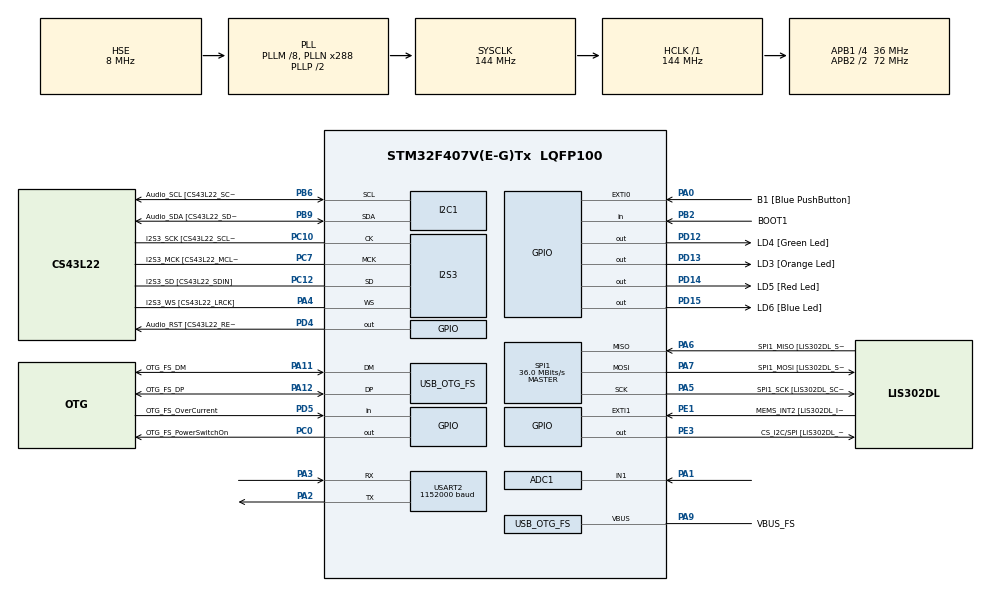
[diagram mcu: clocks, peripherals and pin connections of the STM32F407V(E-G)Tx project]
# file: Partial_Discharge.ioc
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ADC1.Channel-1\#ChannelRegularConversion=ADC_CHANNEL_1
ADC1.ContinuousConvMode=ENABLE
ADC1.DMAContinuousRequests=ENABLE
ADC1.ExternalTrigConv=ADC_SOFTWARE_START
ADC1.NbrOfConversionFlag=1
ADC1.Rank-1\#ChannelRegularConversion=1
ADC1.SamplingTime-1\#ChannelRegularConversion=ADC_SAMPLETIME_3CYCLES
ADC1.master=1
Dma.ADC1.0.Direction=DMA_PERIPH_TO_MEMORY
Dma.ADC1.0.FIFOMode=DMA_FIFOMODE_DISABLE
Dma.ADC1.0.Instance=DMA2_Stream0
Dma.ADC1.0.MemDataAlignment=DMA_MDATAALIGN_HALFWORD
Dma.ADC1.0.MemInc=DMA_MINC_ENABLE
Dma.ADC1.0.Mode=DMA_CIRCULAR
Dma.ADC1.0.PeriphDataAlignment=DMA_PDATAALIGN_HALFWORD
Dma.ADC1.0.PeriphInc=DMA_PINC_DISABLE
Dma.ADC1.0.Priority=DMA_PRIORITY_VERY_HIGH
Dma.Request0=ADC1
I2S3.AudioFreq=I2S_AUDIOFREQ_96K
I2S3.AudioFreq-Half_Duplex_Master=I2S_AUDIOFREQ_96K
I2S3.ErrorAudioFreq=-2.34 %
I2S3.ErrorAudioFreq-Half_Duplex_Master=0.8 %
I2S3.FullDuplexMode=I2S_FULLDUPLEXMODE_DISABLE
I2S3.Instance=SPI$Index
I2S3.RealAudioFreq=93.75 KHz
I2S3.RealAudioFreq-Half_Duplex_Master=96.774 KHz
I2S3.VirtualMode=I2S_MODE_MASTER
Mcu.Family=STM32F4
Mcu.Name=STM32F407V(E-G)Tx
Mcu.Package=LQFP100
NVIC.DMA2_Stream0_IRQn=true\:0\:0\:false\:false\:true\:false\:true\:true
NVIC.OTG_FS_IRQn=true\:0\:0\:false\:false\:true\:true\:true\:true
NVIC.PriorityGroup=NVIC_PRIORITYGROUP_0
NVIC.USART2_IRQn=true\:0\:0\:false\:false\:true\:true\:true\:true
PA0-WKUP.GPIO_Label=B1 [Blue PushButton]
PA0-WKUP.GPIO_ModeDefaultEXTI=GPIO_MODE_EVT_RISING
PA0-WKUP.GPIO_PuPd=GPIO_NOPULL
PA0-WKUP.Signal=GPXTI0
PA1.Signal=ADCx_IN1
PA10.GPIO_Label=OTG_FS_ID
PA10.GPIO_Mode=GPIO_MODE_AF_PP
PA10.GPIO_PuPd=GPIO_NOPULL
PA10.GPIO_Speed=GPIO_SPEED_FREQ_LOW
PA10.Signal=USB_OTG_FS_ID
PA11.GPIO_Label=OTG_FS_DM
PA11.GPIO_Mode=GPIO_MODE_AF_PP
PA11.GPIO_PuPd=GPIO_NOPULL
PA11.GPIO_Speed=GPIO_SPEED_FREQ_LOW
PA11.Mode=Device_Only
PA11.Signal=USB_OTG_FS_DM
PA12.GPIO_Label=OTG_FS_DP
PA12.GPIO_Mode=GPIO_MODE_AF_PP
PA12.GPIO_PuPd=GPIO_NOPULL
PA12.GPIO_Speed=GPIO_SPEED_FREQ_LOW
PA12.Mode=Device_Only
PA12.Signal=USB_OTG_FS_DP
PA13.GPIO_Label=SWDIO
PA13.Mode=Serial_Wire
PA13.Signal=SYS_JTMS-SWDIO
PA14.GPIO_Label=SWCLK
PA14.Mode=Serial_Wire
PA14.Signal=SYS_JTCK-SWCLK
PA2.Mode=Asynchronous
PA2.Signal=USART2_TX
PA3.Mode=Asynchronous
PA3.Signal=USART2_RX
PA4.GPIO_Label=I2S3_WS [CS43L22_LRCK]
PA4.GPIO_Mode=GPIO_MODE_AF_PP
PA4.GPIO_PuPd=GPIO_NOPULL
PA4.GPIO_Speed=GPIO_SPEED_FREQ_LOW
PA4.Mode=Half_Duplex_Master
PA4.Signal=I2S3_WS
PA5.GPIO_Label=SPI1_SCK [LIS302DL_SCL/SPC]
PA5.GPIO_Mode=GPIO_MODE_AF_PP
PA5.GPIO_PuPd=GPIO_NOPULL
PA5.GPIO_Speed=GPIO_SPEED_FREQ_LOW
PA5.Mode=Full_Duplex_Master
PA5.Signal=SPI1_SCK
PA6.GPIO_Label=SPI1_MISO [LIS302DL_SDO]
PA6.GPIO_Mode=GPIO_MODE_AF_PP
PA6.GPIO_PuPd=GPIO_NOPULL
PA6.GPIO_Speed=GPIO_SPEED_FREQ_LOW
PA6.Mode=Full_Duplex_Master
PA6.Signal=SPI1_MISO
PA7.GPIO_Label=SPI1_MOSI [LIS302DL_SDA/SDI/SDO]
PA7.GPIO_Mode=GPIO_MODE_AF_PP
PA7.GPIO_PuPd=GPIO_NOPULL
PA7.GPIO_Speed=GPIO_SPEED_FREQ_LOW
PA7.Mode=Full_Duplex_Master
PA7.Signal=SPI1_MOSI
PA9.GPIO_Label=VBUS_FS
PA9.GPIO_Mode=GPIO_MODE_INPUT
PA9.GPIO_PuPd=GPIO_NOPULL
PA9.Mode=Activate_VBUS
PA9.Signal=USB_OTG_FS_VBUS
PB10.GPIO_Label=CLK_IN [MP45DT02_CLK]
PB10.GPIO_Mode=GPIO_MODE_AF_PP
PB10.GPIO_PuPd=GPIO_NOPULL
PB10.GPIO_Speed=GPIO_SPEED_FREQ_LOW
PB10.Signal=I2S2_CK
PB2.GPIO_Label=BOOT1
PB2.GPIO_Mode=GPIO_MODE_INPUT
PB2.GPIO_PuPd=GPIO_NOPULL
PB2.Signal=GPIO_Input
PB3.GPIO_Label=SWO
PB3.Signal=SYS_JTDO-SWO
PB6.GPIO_Label=Audio_SCL [CS43L22_SCL]
PB6.GPIO_Mode=GPIO_MODE_AF_OD
PB6.GPIO_Pu=GPIO_PULLUP
PB6.GPIO_PuPd=GPIO_NOPULL
PB6.GPIO_Speed=GPIO_SPEED_FREQ_LOW
PB6.Mode=I2C
PB6.Signal=I2C1_SCL
PB9.GPIO_Label=Audio_SDA [CS43L22_SDA]
PB9.GPIO_Mode=GPIO_MODE_AF_OD
PB9.GPIO_Pu=GPIO_PULLUP
PB9.GPIO_PuPd=GPIO_NOPULL
PB9.GPIO_Speed=GPIO_SPEED_FREQ_LOW
PB9.Mode=I2C
PB9.Signal=I2C1_SDA
PC0.GPIO_Label=OTG_FS_PowerSwitchOn
PC0.GPIO_PuPd=GPIO_NOPULL
PC0.GPIO_Speed=GPIO_SPEED_FREQ_LOW
PC0.PinState=GPIO_PIN_SET
PC0.Signal=GPIO_Output
PC10.GPIO_Label=I2S3_SCK [CS43L22_SCLK]
PC10.GPIO_Mode=GPIO_MODE_AF_PP
PC10.GPIO_PuPd=GPIO_NOPULL
PC10.GPIO_Speed=GPIO_SPEED_FREQ_LOW
PC10.Mode=Half_Duplex_Master
PC10.Signal=I2S3_CK
PC12.GPIO_Label=I2S3_SD [CS43L22_SDIN]
PC12.GPIO_Mode=GPIO_MODE_AF_PP
PC12.GPIO_PuPd=GPIO_NOPULL
PC12.GPIO_Speed=GPIO_SPEED_FREQ_LOW
PC12.Mode=Half_Duplex_Master
PC12.Signal=I2S3_SD
PC14-OSC32_IN.GPIO_Label=PC14-OSC32_IN
PC14-OSC32_IN.Mode=LSE-External-Oscillator
PC14-OSC32_IN.Signal=RCC_OSC32_IN
PC15-OSC32_OUT.GPIO_Label=PC15-OSC32_OUT
PC15-OSC32_OUT.Mode=LSE-External-Oscillator
PC15-OSC32_OUT.Signal=RCC_OSC32_OUT
PC3.GPIO_Label=PDM_OUT [MP45DT02_DOUT]
PC3.GPIO_Mode=GPIO_MODE_AF_PP
PC3.GPIO_PuPd=GPIO_NOPULL
PC3.GPIO_Speed=GPIO_SPEED_FREQ_LOW
PC3.Signal=I2S2_SD
PC7.GPIO_Label=I2S3_MCK [CS43L22_MCLK]
PC7.GPIO_Mode=GPIO_MODE_AF_PP
PC7.GPIO_PuPd=GPIO_NOPULL
PC7.GPIO_Speed=GPIO_SPEED_FREQ_LOW
PC7.Mode=Master_Clock_Activated
PC7.Signal=I2S3_MCK
PD12.GPIO_Label=LD4 [Green Led]
PD12.GPIO_PuPd=GPIO_NOPULL
PD12.GPIO_Speed=GPIO_SPEED_FREQ_LOW
PD12.Signal=GPIO_Output
PD13.GPIO_Label=LD3 [Orange Led]
PD13.GPIO_PuPd=GPIO_NOPULL
PD13.GPIO_Speed=GPIO_SPEED_FREQ_LOW
PD13.Signal=GPIO_Output
PD14.GPIO_Label=LD5 [Red Led]
PD14.GPIO_PuPd=GPIO_NOPULL
PD14.GPIO_Speed=GPIO_SPEED_FREQ_LOW
PD14.Signal=GPIO_Output
PD15.GPIO_Label=LD6 [Blue Led]
PD15.GPIO_PuPd=GPIO_NOPULL
PD15.GPIO_Speed=GPIO_SPEED_FREQ_LOW
PD15.Signal=GPIO_Output
PD4.GPIO_Label=Audio_RST [CS43L22_RESET]
PD4.GPIO_PuPd=GPIO_NOPULL
PD4.GPIO_Speed=GPIO_SPEED_FREQ_LOW
PD4.Signal=GPIO_Output
PD5.GPIO_Label=OTG_FS_OverCurrent
PD5.GPIO_Mode=GPIO_MODE_INPUT
PD5.GPIO_PuPd=GPIO_NOPULL
PD5.Signal=GPIO_Input
PE1.GPIO_Label=MEMS_INT2 [LIS302DL_INT2]
PE1.GPIO_ModeDefaultEXTI=GPIO_MODE_EVT_RISING
PE1.GPIO_PuPd=GPIO_NOPULL
PE1.Signal=GPXTI1
PE3.GPIO_Label=CS_I2C/SPI [LIS302DL_CS_I2C/SPI]
PE3.GPIO_PuPd=GPIO_NOPULL
PE3.GPIO_Speed=GPIO_SPEED_FREQ_LOW
PE3.Signal=GPIO_Output
PH0-OSC_IN.GPIO_Label=PH0-OSC_IN
PH0-OSC_IN.Mode=HSE-External-Oscillator
PH0-OSC_IN.Signal=RCC_OSC_IN
PH1-OSC_OUT.GPIO_Label=PH1-OSC_OUT
PH1-OSC_OUT.Mode=HSE-External-Oscillator
PH1-OSC_OUT.Signal=RCC_OSC_OUT
ProjectManager.HeapSize=0x200
ProjectManager.StackSize=0x400
ProjectManager.TargetToolchain=STM32CubeIDE
RCC.48MHZClocksFreq_Value=48000000
RCC.AHBFreq_Value=144000000
RCC.APB1CLKDivider=RCC_HCLK_DIV4
RCC.APB1Freq_Value=36000000
RCC.APB1TimFreq_Value=72000000
RCC.APB2CLKDivider=RCC_HCLK_DIV2
RCC.APB2Freq_Value=72000000
RCC.APB2TimFreq_Value=144000000
RCC.CortexFreq_Value=144000000
RCC.HCLKFreq_Value=144000000
RCC.HSE_VALUE=8000000
RCC.HSI_VALUE=16000000
RCC.PLLI2SN=288
RCC.PLLM=8
RCC.PLLN=288
RCC.PLLQ=6
RCC.SYSCLKFreq_VALUE=144000000
RCC.SYSCLKSource=RCC_SYSCLKSOURCE_PLLCLK
RCC.VCOOutputFreq_Value=288000000
SH.ADCx_IN1.0=ADC1_IN1,IN1
SPI1.BaudRatePrescaler=SPI_BAUDRATEPRESCALER_2
SPI1.BaudRatePrescaler-Full_Duplex_Master=SPI_BAUDRATEPRESCALER_2
SPI1.CalculateBaudRate=36.0 MBits/s
SPI1.CalculateBaudRate-Full_Duplex_Master=42.0 MBits/s
SPI1.Direction=SPI_DIRECTION_2LINES
SPI1.Mode=SPI_MODE_MASTER
SPI1.Mode-Full_Duplex_Master=SPI_MODE_MASTER
SPI1.VirtualType=VM_MASTER
TIM2.Period=874
TIM2.TIM_MasterOutputTrigger=TIM_TRGO_UPDATE
TIM2.TIM_MasterSlaveMode=TIM_MASTERSLAVEMODE_ENABLE
USART2.BaudRate=1152000
USART2.VirtualMode=VM_ASYNC
USB_DEVICE.CLASS_NAME_FS=CDC
USB_DEVICE.VirtualMode-CDC_FS=Cdc
USB_DEVICE.VirtualModeFS=Cdc_FS
USB_OTG_FS.VirtualMode=Device_Only
VP_TIM2_VS_ClockSourceINT.Mode=Internal
VP_USB_DEVICE_VS_USB_DEVICE_CDC_FS.Mode=CDC_FS
board=STM32F407G-DISC1

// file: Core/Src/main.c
/* USER CODE BEGIN Header */
/**
  ******************************************************************************
  * @file           : main.c
  * @brief          : Main program body
  ******************************************************************************
  * @attention
  *
  * Copyright (c) 2026 STMicroelectronics.
  * All rights reserved.
  *
  * This software is licensed under terms that can be found in the LICENSE file
  * in the root directory of this software component.
  * If no LICENSE file comes with this software, it is provided AS-IS.
  *
  ******************************************************************************
  */
/* USER CODE END Header */
#include "main.h"
#include "usb_device.h"

/* USER CODE BEGIN Includes */
#include <stdio.h>
#include "usbd_cdc_if.h"  // <-- DITAMBAHKAN: Header untuk menggunakan fungsi CDC_Transmit_FS
/* USER CODE END Includes */

ADC_HandleTypeDef hadc1;
DMA_HandleTypeDef hdma_adc1;

I2C_HandleTypeDef hi2c1;

I2S_HandleTypeDef hi2s3;

SPI_HandleTypeDef hspi1;

TIM_HandleTypeDef htim2;

UART_HandleTypeDef huart2;

/* USER CODE BEGIN PV */
#define ADC_SPS       2400000UL   /* 36MHz ADCCLK / 15 siklus (3 sampling+12 konversi 12-bit) */
#define OUT_RATE_HZ   244UL
#define OUT_DECIM     (ADC_SPS / OUT_RATE_HZ)   /* = 9836 sampel per angka keluaran */

uint32_t adc_value = 0;
char uart_buf[128];

static uint32_t acc_count = 0;
static uint16_t acc_peak  = 0;

#define BUFFER_SIZE 512

typedef struct
{
    uint32_t adc;
    uint32_t timestamp;
} ADC_Data_t;

#define ADC_BUF_SIZE 8192

volatile uint16_t adc_buffer[ADC_BUF_SIZE];

volatile uint8_t tx_half = 0;
volatile uint8_t tx_full = 0;

volatile uint32_t usb_busy_count = 0;
volatile uint32_t sample_blocks = 0;
/* USER CODE END PV */

void SystemClock_Config(void);
static void MX_GPIO_Init(void);
static void MX_DMA_Init(void);
static void MX_ADC1_Init(void);
static void MX_I2C1_Init(void);
static void MX_I2S3_Init(void);
static void MX_SPI1_Init(void);
static void MX_USART2_UART_Init(void);
static void MX_TIM2_Init(void);
/* USER CODE BEGIN PFP */
static void emit_sample(uint16_t v);
static void reduce_half(const volatile uint16_t *p, uint32_t n);
/* USER CODE END PFP */

/* USER CODE END PFP */

int main(void)
{

  /* MCU Configuration--------------------------------------------------------*/

  /* Reset of all peripherals, Initializes the Flash interface and the Systick. */
  HAL_Init();

  /* Configure the system clock */
  SystemClock_Config();

  /* USER CODE BEGIN SysInit */
	HAL_Delay(100);

	sprintf(uart_buf,
	        "CTRL=%08lX CYCCNT=%lu\r\n",
	        DWT->CTRL,
	        DWT->CYCCNT);

	CDC_Transmit_FS((uint8_t*)uart_buf, strlen(uart_buf));
  /* USER CODE END SysInit */

  /* Initialize all configured peripherals */
  MX_GPIO_Init();
  MX_DMA_Init();
  MX_ADC1_Init();
  MX_I2C1_Init();
  MX_I2S3_Init();
  MX_SPI1_Init();
  MX_USART2_UART_Init();
  MX_USB_DEVICE_Init();
  MX_TIM2_Init();
  /* USER CODE BEGIN 2 */
  HAL_TIM_Base_Start(&htim2);

  HAL_ADC_Start_DMA(
      &hadc1,
      (uint32_t*)adc_buffer,
      ADC_BUF_SIZE
  );
  /* USER CODE END 2 */

  /* Infinite loop */
  /* USER CODE BEGIN WHILE */
//  while (1)
//  {
    /* USER CODE END WHILE */

    /* USER CODE BEGIN 3 */
//  }
  uint32_t last_report = HAL_GetTick();

  while (1)
  {
      if (tx_half)
      {
          tx_half = 0;
          reduce_half(&adc_buffer[0], ADC_BUF_SIZE / 2);
          sample_blocks++;
      }

      if (tx_full)
      {
          tx_full = 0;
          reduce_half(&adc_buffer[ADC_BUF_SIZE / 2], ADC_BUF_SIZE / 2);
          sample_blocks++;
      }

      if (HAL_GetTick() - last_report >= 1000)
      {
          last_report = HAL_GetTick();
          int len = sprintf(uart_buf, ">blocks:%lu\n", sample_blocks);
          HAL_UART_Transmit(&huart2, (uint8_t*)uart_buf, len, 10);
      }
  }
  /* USER CODE END 3 */
}

void SystemClock_Config(void)
{
  RCC_OscInitTypeDef RCC_OscInitStruct = {0};
  RCC_ClkInitTypeDef RCC_ClkInitStruct = {0};

  /** Configure the main internal regulator output voltage
  */
  __HAL_RCC_PWR_CLK_ENABLE();
  __HAL_PWR_VOLTAGESCALING_CONFIG(PWR_REGULATOR_VOLTAGE_SCALE1);

  /** Initializes the RCC Oscillators according to the specified parameters
  * in the RCC_OscInitTypeDef structure.
  */
  RCC_OscInitStruct.OscillatorType = RCC_OSCILLATORTYPE_HSE;
  RCC_OscInitStruct.HSEState = RCC_HSE_ON;
  RCC_OscInitStruct.PLL.PLLState = RCC_PLL_ON;
  RCC_OscInitStruct.PLL.PLLSource = RCC_PLLSOURCE_HSE;
  RCC_OscInitStruct.PLL.PLLM = 8;
  RCC_OscInitStruct.PLL.PLLN = 288;
  RCC_OscInitStruct.PLL.PLLP = RCC_PLLP_DIV2;
  RCC_OscInitStruct.PLL.PLLQ = 6;
  if (HAL_RCC_OscConfig(&RCC_OscInitStruct) != HAL_OK)
  {
    Error_Handler();
  }

  /** Initializes the CPU, AHB and APB buses clocks
  */
  RCC_ClkInitStruct.ClockType = RCC_CLOCKTYPE_HCLK|RCC_CLOCKTYPE_SYSCLK
                              |RCC_CLOCKTYPE_PCLK1|RCC_CLOCKTYPE_PCLK2;
  RCC_ClkInitStruct.SYSCLKSource = RCC_SYSCLKSOURCE_PLLCLK;
  RCC_ClkInitStruct.AHBCLKDivider = RCC_SYSCLK_DIV1;
  RCC_ClkInitStruct.APB1CLKDivider = RCC_HCLK_DIV4;
  RCC_ClkInitStruct.APB2CLKDivider = RCC_HCLK_DIV2;

  if (HAL_RCC_ClockConfig(&RCC_ClkInitStruct, FLASH_LATENCY_4) != HAL_OK)
  {
    Error_Handler();
  }
}

static void MX_ADC1_Init(void)
{

  ADC_ChannelConfTypeDef sConfig = {0};

  /** Configure the global features of the ADC (Clock, Resolution, Data Alignment and number of conversion)
  */
  hadc1.Instance = ADC1;
  hadc1.Init.ClockPrescaler = ADC_CLOCK_SYNC_PCLK_DIV2;
  hadc1.Init.Resolution = ADC_RESOLUTION_12B;
  hadc1.Init.ScanConvMode = DISABLE;
  hadc1.Init.ContinuousConvMode = ENABLE;
  hadc1.Init.DiscontinuousConvMode = DISABLE;
  hadc1.Init.ExternalTrigConvEdge = ADC_EXTERNALTRIGCONVEDGE_NONE;
  hadc1.Init.ExternalTrigConv = ADC_SOFTWARE_START;
  hadc1.Init.DataAlign = ADC_DATAALIGN_RIGHT;
  hadc1.Init.NbrOfConversion = 1;
  hadc1.Init.DMAContinuousRequests = ENABLE;
  hadc1.Init.EOCSelection = ADC_EOC_SINGLE_CONV;
  if (HAL_ADC_Init(&hadc1) != HAL_OK)
  {
    Error_Handler();
  }

  /** Configure for the selected ADC regular channel its corresponding rank in the sequencer and its sample time.
  */
  sConfig.Channel = ADC_CHANNEL_1;
  sConfig.Rank = 1;
  sConfig.SamplingTime = ADC_SAMPLETIME_3CYCLES;
  if (HAL_ADC_ConfigChannel(&hadc1, &sConfig) != HAL_OK)
  {
    Error_Handler();
  }

}

static void MX_I2C1_Init(void)
{

  hi2c1.Instance = I2C1;
  hi2c1.Init.ClockSpeed = 100000;
  hi2c1.Init.DutyCycle = I2C_DUTYCYCLE_2;
  hi2c1.Init.OwnAddress1 = 0;
  hi2c1.Init.AddressingMode = I2C_ADDRESSINGMODE_7BIT;
  hi2c1.Init.DualAddressMode = I2C_DUALADDRESS_DISABLE;
  hi2c1.Init.OwnAddress2 = 0;
  hi2c1.Init.GeneralCallMode = I2C_GENERALCALL_DISABLE;
  hi2c1.Init.NoStretchMode = I2C_NOSTRETCH_DISABLE;
  if (HAL_I2C_Init(&hi2c1) != HAL_OK)
  {
    Error_Handler();
  }

}

static void MX_I2S3_Init(void)
{

  hi2s3.Instance = SPI3;
  hi2s3.Init.Mode = I2S_MODE_MASTER_TX;
  hi2s3.Init.Standard = I2S_STANDARD_PHILIPS;
  hi2s3.Init.DataFormat = I2S_DATAFORMAT_16B;
  hi2s3.Init.MCLKOutput = I2S_MCLKOUTPUT_ENABLE;
  hi2s3.Init.AudioFreq = I2S_AUDIOFREQ_96K;
  hi2s3.Init.CPOL = I2S_CPOL_LOW;
  hi2s3.Init.ClockSource = I2S_CLOCK_PLL;
  hi2s3.Init.FullDuplexMode = I2S_FULLDUPLEXMODE_DISABLE;
  if (HAL_I2S_Init(&hi2s3) != HAL_OK)
  {
    Error_Handler();
  }

}

static void MX_SPI1_Init(void)
{

  /* SPI1 parameter configuration*/
  hspi1.Instance = SPI1;
  hspi1.Init.Mode = SPI_MODE_MASTER;
  hspi1.Init.Direction = SPI_DIRECTION_2LINES;
  hspi1.Init.DataSize = SPI_DATASIZE_8BIT;
  hspi1.Init.CLKPolarity = SPI_POLARITY_LOW;
  hspi1.Init.CLKPhase = SPI_PHASE_1EDGE;
  hspi1.Init.NSS = SPI_NSS_SOFT;
  hspi1.Init.BaudRatePrescaler = SPI_BAUDRATEPRESCALER_2;
  hspi1.Init.FirstBit = SPI_FIRSTBIT_MSB;
  hspi1.Init.TIMode = SPI_TIMODE_DISABLE;
  hspi1.Init.CRCCalculation = SPI_CRCCALCULATION_DISABLE;
  hspi1.Init.CRCPolynomial = 10;
  if (HAL_SPI_Init(&hspi1) != HAL_OK)
  {
    Error_Handler();
  }

}

static void MX_TIM2_Init(void)
{

  TIM_ClockConfigTypeDef sClockSourceConfig = {0};
  TIM_MasterConfigTypeDef sMasterConfig = {0};

  htim2.Instance = TIM2;
  htim2.Init.Prescaler = 0;
  htim2.Init.CounterMode = TIM_COUNTERMODE_UP;
  htim2.Init.Period = 874;
  htim2.Init.ClockDivision = TIM_CLOCKDIVISION_DIV1;
  htim2.Init.AutoReloadPreload = TIM_AUTORELOAD_PRELOAD_DISABLE;
  if (HAL_TIM_Base_Init(&htim2) != HAL_OK)
  {
    Error_Handler();
  }
  sClockSourceConfig.ClockSource = TIM_CLOCKSOURCE_INTERNAL;
  if (HAL_TIM_ConfigClockSource(&htim2, &sClockSourceConfig) != HAL_OK)
  {
    Error_Handler();
  }
  sMasterConfig.MasterOutputTrigger = TIM_TRGO_UPDATE;
  sMasterConfig.MasterSlaveMode = TIM_MASTERSLAVEMODE_ENABLE;
  if (HAL_TIMEx_MasterConfigSynchronization(&htim2, &sMasterConfig) != HAL_OK)
  {
    Error_Handler();
  }

}

static void MX_USART2_UART_Init(void)
{

  huart2.Instance = USART2;
  huart2.Init.BaudRate = 115200;   // was 1152000
  huart2.Init.WordLength = UART_WORDLENGTH_8B;
  huart2.Init.StopBits = UART_STOPBITS_1;
  huart2.Init.Parity = UART_PARITY_NONE;
  huart2.Init.Mode = UART_MODE_TX_RX;
  huart2.Init.HwFlowCtl = UART_HWCONTROL_NONE;
  huart2.Init.OverSampling = UART_OVERSAMPLING_16;
  if (HAL_UART_Init(&huart2) != HAL_OK)
  {
    Error_Handler();
  }

}

static void MX_DMA_Init(void)
{

  /* DMA controller clock enable */
  __HAL_RCC_DMA2_CLK_ENABLE();

  /* DMA interrupt init */
  /* DMA2_Stream0_IRQn interrupt configuration */
  HAL_NVIC_SetPriority(DMA2_Stream0_IRQn, 0, 0);
  HAL_NVIC_EnableIRQ(DMA2_Stream0_IRQn);

}

static void MX_GPIO_Init(void)
{
  GPIO_InitTypeDef GPIO_InitStruct = {0};

  /* GPIO Ports Clock Enable */
  __HAL_RCC_GPIOE_CLK_ENABLE();
  __HAL_RCC_GPIOC_CLK_ENABLE();
  __HAL_RCC_GPIOH_CLK_ENABLE();
  __HAL_RCC_GPIOA_CLK_ENABLE();
  __HAL_RCC_GPIOB_CLK_ENABLE();
  __HAL_RCC_GPIOD_CLK_ENABLE();

  /*Configure GPIO pin Output Level */
  HAL_GPIO_WritePin(CS_I2C_SPI_GPIO_Port, CS_I2C_SPI_Pin, GPIO_PIN_RESET);

  /*Configure GPIO pin Output Level */
  HAL_GPIO_WritePin(OTG_FS_PowerSwitchOn_GPIO_Port, OTG_FS_PowerSwitchOn_Pin, GPIO_PIN_SET);

  /*Configure GPIO pin Output Level */
  HAL_GPIO_WritePin(GPIOD, LD4_Pin|LD3_Pin|LD5_Pin|LD6_Pin
                          |Audio_RST_Pin, GPIO_PIN_RESET);

  /*Configure GPIO pin : CS_I2C_SPI_Pin */
  GPIO_InitStruct.Pin = CS_I2C_SPI_Pin;
  GPIO_InitStruct.Mode = GPIO_MODE_OUTPUT_PP;
  GPIO_InitStruct.Pull = GPIO_NOPULL;
  GPIO_InitStruct.Speed = GPIO_SPEED_FREQ_LOW;
  HAL_GPIO_Init(CS_I2C_SPI_GPIO_Port, &GPIO_InitStruct);

  /*Configure GPIO pin : OTG_FS_PowerSwitchOn_Pin */
  GPIO_InitStruct.Pin = OTG_FS_PowerSwitchOn_Pin;
  GPIO_InitStruct.Mode = GPIO_MODE_OUTPUT_PP;
  GPIO_InitStruct.Pull = GPIO_NOPULL;
  GPIO_InitStruct.Speed = GPIO_SPEED_FREQ_LOW;
  HAL_GPIO_Init(OTG_FS_PowerSwitchOn_GPIO_Port, &GPIO_InitStruct);

  /*Configure GPIO pin : PDM_OUT_Pin */
  GPIO_InitStruct.Pin = PDM_OUT_Pin;
  GPIO_InitStruct.Mode = GPIO_MODE_AF_PP;
  GPIO_InitStruct.Pull = GPIO_NOPULL;
  GPIO_InitStruct.Speed = GPIO_SPEED_FREQ_LOW;
  GPIO_InitStruct.Alternate = GPIO_AF5_SPI2;
  HAL_GPIO_Init(PDM_OUT_GPIO_Port, &GPIO_InitStruct);

  /*Configure GPIO pin : B1_Pin */
  GPIO_InitStruct.Pin = B1_Pin;
  GPIO_InitStruct.Mode = GPIO_MODE_EVT_RISING;
  GPIO_InitStruct.Pull = GPIO_NOPULL;
  HAL_GPIO_Init(B1_GPIO_Port, &GPIO_InitStruct);

  /*Configure GPIO pin : BOOT1_Pin */
  GPIO_InitStruct.Pin = BOOT1_Pin;
  GPIO_InitStruct.Mode = GPIO_MODE_INPUT;
  GPIO_InitStruct.Pull = GPIO_NOPULL;
  HAL_GPIO_Init(BOOT1_GPIO_Port, &GPIO_InitStruct);

  /*Configure GPIO pin : CLK_IN_Pin */
  GPIO_InitStruct.Pin = CLK_IN_Pin;
  GPIO_InitStruct.Mode = GPIO_MODE_AF_PP;
  GPIO_InitStruct.Pull = GPIO_NOPULL;
  GPIO_InitStruct.Speed = GPIO_SPEED_FREQ_LOW;
  GPIO_InitStruct.Alternate = GPIO_AF5_SPI2;
  HAL_GPIO_Init(CLK_IN_GPIO_Port, &GPIO_InitStruct);

  /*Configure GPIO pins : LD4_Pin LD3_Pin LD5_Pin LD6_Pin
                           Audio_RST_Pin */
  GPIO_InitStruct.Pin = LD4_Pin|LD3_Pin|LD5_Pin|LD6_Pin
                          |Audio_RST_Pin;
  GPIO_InitStruct.Mode = GPIO_MODE_OUTPUT_PP;
  GPIO_InitStruct.Pull = GPIO_NOPULL;
  GPIO_InitStruct.Speed = GPIO_SPEED_FREQ_LOW;
  HAL_GPIO_Init(GPIOD, &GPIO_InitStruct);

  /*Configure GPIO pin : OTG_FS_OverCurrent_Pin */
  GPIO_InitStruct.Pin = OTG_FS_OverCurrent_Pin;
  GPIO_InitStruct.Mode = GPIO_MODE_INPUT;
  GPIO_InitStruct.Pull = GPIO_NOPULL;
  HAL_GPIO_Init(OTG_FS_OverCurrent_GPIO_Port, &GPIO_InitStruct);

  /*Configure GPIO pin : MEMS_INT2_Pin */
  GPIO_InitStruct.Pin = MEMS_INT2_Pin;
  GPIO_InitStruct.Mode = GPIO_MODE_EVT_RISING;
  GPIO_InitStruct.Pull = GPIO_NOPULL;
  HAL_GPIO_Init(MEMS_INT2_GPIO_Port, &GPIO_InitStruct);

}

/* USER CODE BEGIN 4 */
static void emit_sample(uint16_t v)
{
    int len = sprintf(uart_buf, ">ADC:%u\n", v);
    while (CDC_Transmit_FS((uint8_t*)uart_buf, len) == USBD_BUSY) { usb_busy_count++; }
    HAL_UART_Transmit(&huart2, (uint8_t*)uart_buf, len, 10);
}

/* Peak-hold: nilai tertinggi dalam jendela OUT_DECIM sampel jadi satu angka
 * keluaran. acc_count/acc_peak persisten lintas panggilan supaya titik emit
 * tidak dibulatkan ke batas half-buffer (sama seperti reduce_block referensi). */
static void reduce_half(const volatile uint16_t *p, uint32_t n)
{
    uint32_t cnt  = acc_count;
    uint16_t peak = acc_peak;

    for (uint32_t i = 0; i < n; i++)
    {
        uint16_t v = p[i];
        if (v > peak) { peak = v; }
        cnt++;
        if (cnt >= OUT_DECIM)
        {
            emit_sample(peak);
            cnt = 0;
            peak = 0;
        }
    }
    acc_count = cnt;
    acc_peak  = peak;
}

void HAL_ADC_ConvHalfCpltCallback(ADC_HandleTypeDef *hadc)
{
    tx_half = 1;
}

void HAL_ADC_ConvCpltCallback(ADC_HandleTypeDef *hadc)
{
    tx_full = 1;
}
/* USER CODE END 4 */

void Error_Handler(void)
{
  __disable_irq();
  while (1)
  {
  }
}
